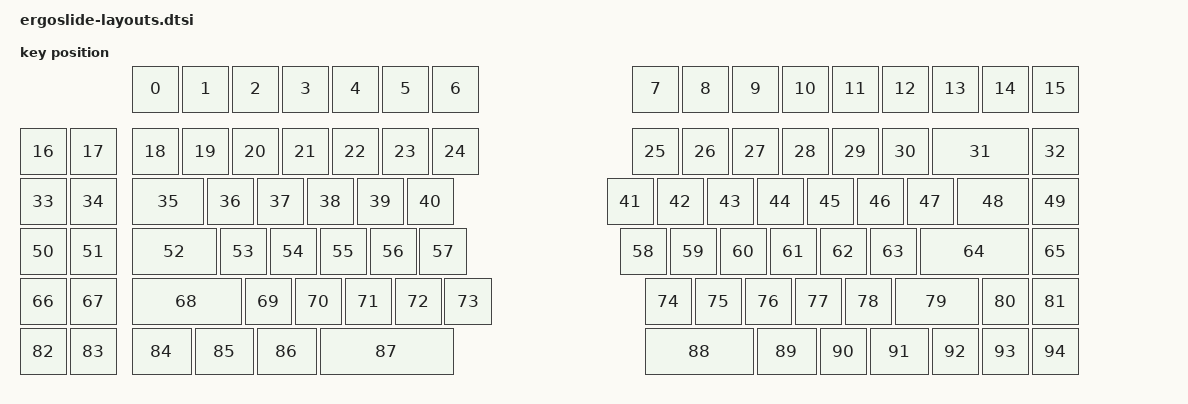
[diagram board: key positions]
#include <physical_layouts.dtsi>

/*
  Take the layout from KLE
    https://www.keyboard-layout-editor.com/#/
  And import it in to keymap-layout-tools
    https://nickcoutsos.github.io/keymap-layout-tools/
  And take that output over to ZMK physical layouts editor
    https://zmk-physical-layout-converter.streamlit.app/
*/


/ {
      ergoslide_physical_layout: ergoslide_physical_layout {
        compatible = "zmk,physical-layout";
        display-name = "Ergoslide";

        kscan = <&kscan0>;
        transform = <&matrix_transform0>;

        keys  //                     w   h    x    y     rot    rx    ry
            /* Left hand side row 1 */
            = <&key_physical_attrs 100 100  225    0       0     0     0>
            , <&key_physical_attrs 100 100  325    0       0     0     0>
            , <&key_physical_attrs 100 100  425    0       0     0     0>
            , <&key_physical_attrs 100 100  525    0       0     0     0>
            , <&key_physical_attrs 100 100  625    0       0     0     0>
            , <&key_physical_attrs 100 100  725    0       0     0     0>
            , <&key_physical_attrs 100 100  825    0       0     0     0>

            /* Right hand side row 1 */
            , <&key_physical_attrs 100 100 1225    0       0     0     0>
            , <&key_physical_attrs 100 100 1325    0       0     0     0>
            , <&key_physical_attrs 100 100 1425    0       0     0     0>
            , <&key_physical_attrs 100 100 1525    0       0     0     0>
            , <&key_physical_attrs 100 100 1625    0       0     0     0>
            , <&key_physical_attrs 100 100 1725    0       0     0     0>
            , <&key_physical_attrs 100 100 1825    0       0     0     0>
            , <&key_physical_attrs 100 100 1925    0       0     0     0>
            , <&key_physical_attrs 100 100 2025    0       0     0     0>

            /* Left hand side row 2 */
            , <&key_physical_attrs 100 100    0  125       0     0     0>
            , <&key_physical_attrs 100 100  100  125       0     0     0>
            , <&key_physical_attrs 100 100  225  125       0     0     0>
            , <&key_physical_attrs 100 100  325  125       0     0     0>
            , <&key_physical_attrs 100 100  425  125       0     0     0>
            , <&key_physical_attrs 100 100  525  125       0     0     0>
            , <&key_physical_attrs 100 100  625  125       0     0     0>
            , <&key_physical_attrs 100 100  725  125       0     0     0>
            , <&key_physical_attrs 100 100  825  125       0     0     0>

            /* Right hand side row 2 */
            , <&key_physical_attrs 100 100 1225  125       0     0     0>
            , <&key_physical_attrs 100 100 1325  125       0     0     0>
            , <&key_physical_attrs 100 100 1425  125       0     0     0>
            , <&key_physical_attrs 100 100 1525  125       0     0     0>
            , <&key_physical_attrs 100 100 1625  125       0     0     0>
            , <&key_physical_attrs 100 100 1725  125       0     0     0>
            , <&key_physical_attrs 200 100 1825  125       0     0     0>
            , <&key_physical_attrs 100 100 2025  125       0     0     0>

            /* Left hand side row 3 */
            , <&key_physical_attrs 100 100    0  225       0     0     0>
            , <&key_physical_attrs 100 100  100  225       0     0     0>
            , <&key_physical_attrs 150 100  225  225       0     0     0>
            , <&key_physical_attrs 100 100  375  225       0     0     0>
            , <&key_physical_attrs 100 100  475  225       0     0     0>
            , <&key_physical_attrs 100 100  575  225       0     0     0>
            , <&key_physical_attrs 100 100  675  225       0     0     0>
            , <&key_physical_attrs 100 100  775  225       0     0     0>

            /* Right hand side row 3 */
            , <&key_physical_attrs 100 100 1175  225       0     0     0>
            , <&key_physical_attrs 100 100 1275  225       0     0     0>
            , <&key_physical_attrs 100 100 1375  225       0     0     0>
            , <&key_physical_attrs 100 100 1475  225       0     0     0>
            , <&key_physical_attrs 100 100 1575  225       0     0     0>
            , <&key_physical_attrs 100 100 1675  225       0     0     0>
            , <&key_physical_attrs 100 100 1775  225       0     0     0>
            , <&key_physical_attrs 150 100 1875  225       0     0     0>
            , <&key_physical_attrs 100 100 2025  225       0     0     0>

            /* Left hand side row 4 */
            , <&key_physical_attrs 100 100    0  325       0     0     0>
            , <&key_physical_attrs 100 100  100  325       0     0     0>
            , <&key_physical_attrs 175 100  225  325       0     0     0>
            , <&key_physical_attrs 100 100  400  325       0     0     0>
            , <&key_physical_attrs 100 100  500  325       0     0     0>
            , <&key_physical_attrs 100 100  600  325       0     0     0>
            , <&key_physical_attrs 100 100  700  325       0     0     0>
            , <&key_physical_attrs 100 100  800  325       0     0     0>

            /* Right hand side row 4 */
            , <&key_physical_attrs 100 100 1200  325       0     0     0>
            , <&key_physical_attrs 100 100 1300  325       0     0     0>
            , <&key_physical_attrs 100 100 1400  325       0     0     0>
            , <&key_physical_attrs 100 100 1500  325       0     0     0>
            , <&key_physical_attrs 100 100 1600  325       0     0     0>
            , <&key_physical_attrs 100 100 1700  325       0     0     0>
            , <&key_physical_attrs 225 100 1800  325       0     0     0>
            , <&key_physical_attrs 100 100 2025  325       0     0     0>

            /* Left hand side row 5 */
            , <&key_physical_attrs 100 100    0  425       0     0     0>
            , <&key_physical_attrs 100 100  100  425       0     0     0>
            , <&key_physical_attrs 225 100  225  425       0     0     0>
            , <&key_physical_attrs 100 100  450  425       0     0     0>
            , <&key_physical_attrs 100 100  550  425       0     0     0>
            , <&key_physical_attrs 100 100  650  425       0     0     0>
            , <&key_physical_attrs 100 100  750  425       0     0     0>
            , <&key_physical_attrs 100 100  850  425       0     0     0>

            /* Right hand side row 5 */
            , <&key_physical_attrs 100 100 1250  425       0     0     0>
            , <&key_physical_attrs 100 100 1350  425       0     0     0>
            , <&key_physical_attrs 100 100 1450  425       0     0     0>
            , <&key_physical_attrs 100 100 1550  425       0     0     0>
            , <&key_physical_attrs 100 100 1650  425       0     0     0>
            , <&key_physical_attrs 175 100 1750  425       0     0     0>
            , <&key_physical_attrs 100 100 1925  425       0     0     0>
            , <&key_physical_attrs 100 100 2025  425       0     0     0>

            /* Left hand side row 6 */
            , <&key_physical_attrs 100 100    0  525       0     0     0>
            , <&key_physical_attrs 100 100  100  525       0     0     0>
            , <&key_physical_attrs 125 100  225  525       0     0     0>
            , <&key_physical_attrs 125 100  350  525       0     0     0>
            , <&key_physical_attrs 125 100  475  525       0     0     0>
            , <&key_physical_attrs 275 100  600  525       0     0     0>

            /* Right hand side row 6 */
            , <&key_physical_attrs 225 100 1250  525       0     0     0>
            , <&key_physical_attrs 125 100 1475  525       0     0     0>
            , <&key_physical_attrs 100 100 1600  525       0     0     0>
            , <&key_physical_attrs 125 100 1700  525       0     0     0>
            , <&key_physical_attrs 100 100 1825  525       0     0     0>
            , <&key_physical_attrs 100 100 1925  525       0     0     0>
            , <&key_physical_attrs 100 100 2025  525       0     0     0>
            ;
    };
};
